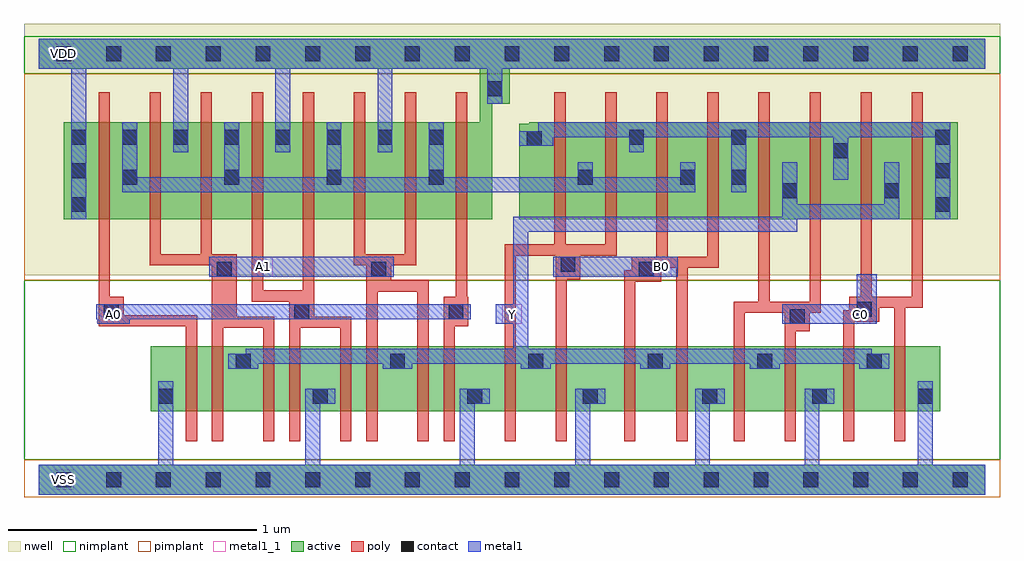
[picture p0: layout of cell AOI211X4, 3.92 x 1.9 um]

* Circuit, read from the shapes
.subckt AOI211X4 A0 A1 B0 C0 VDD VSS Y
M1 n1 A0 VSS VSS nfet w=0.26u l=0.045u
M2 Y A1 n1 VSS nfet w=0.26u l=0.045u
M3 n2 A1 Y VSS nfet w=0.26u l=0.045u
M4 VSS A0 n2 VSS nfet w=0.26u l=0.045u
M5 n3 A0 VSS VSS nfet w=0.26u l=0.045u
M6 Y A1 n3 VSS nfet w=0.26u l=0.045u
M7 n4 A1 Y VSS nfet w=0.26u l=0.045u
M8 VSS A0 n4 VSS nfet w=0.26u l=0.045u
M9 Y B0 VSS VSS nfet w=0.26u l=0.045u m=4
M10 Y C0 VSS VSS nfet w=0.26u l=0.045u m=4
M11 n5 A0 VDD VDD pfet w=0.39u l=0.045u m=4
M12 VDD A1 n5 VDD pfet w=0.39u l=0.045u m=4
M13 n5 B0 n6 VDD pfet w=0.39u l=0.045u m=4
M14 Y C0 n6 VDD pfet w=0.39u l=0.045u m=4
.ends

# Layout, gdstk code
import gdstk
lib = gdstk.Library(unit=1e-6, precision=5e-10)
def R(c, l, rs):  # rectangles x0, y0, x1, y1
    for r in rs: c.add(gdstk.rectangle(r[:2], r[2:], *l))
def A(c, l, x, y, w, h, nx, ny, dx, dy):  # array of equal rectangles
    R(c, l, [(x+i*dx, y+j*dy, x+i*dx+w, y+j*dy+h) for i in range(nx) for j in range(ny)])
def P(c, l, *ps):  # polygons
    for p in ps: c.add(gdstk.Polygon(p, *l))
active = (1, 0)
nwell = (2, 0)
poly = (3, 0)
nimplant = (4, 0)
pimplant = (5, 0)
contact = (6, 0)
metal1 = (7, 0)
metal1_1 = (7, 1)

aoi211x4 = lib.new_cell('AOI211X4')
R(aoi211x4, active, [(0,-0.06,3.8,0.06), (0.45,0.275,3.62,0.535)])
P(aoi211x4, active, [(0,1.77),(3.8,1.77),(3.8,1.65),(1.89,1.65),(1.89,1.51),(1.82,1.51),(1.82,1.045),(0.1,1.045),(0.1,1.435),(1.77,1.435),(1.77,1.65),(0,1.65)],
  [(1.97,1.435),(3.69,1.435),(3.69,1.045),(1.93,1.045),(1.93,1.43),(1.97,1.43)])
R(aoi211x4, nwell, [(-0.06,0.82,3.86,1.83)])
P(aoi211x4, poly, [(0.24,1.555),(0.285,1.555),(0.285,0.735),(0.34,0.735),(0.34,0.66),(0.635,0.66),(0.635,0.155),(0.59,0.155),(0.59,0.615),(0.24,0.615)],
  [(0.445,1.555),(0.49,1.555),(0.49,0.905),(0.65,0.905),(0.65,1.555),(0.695,1.555),(0.695,0.905),(0.795,0.905),(0.795,0.655),(0.945,0.655),(0.945,0.155),(0.9,0.155),(0.9,0.61),(0.74,0.61),(0.74,0.155),(0.695,0.155),(0.695,0.86),(0.445,0.86)],
  [(0.855,1.555),(0.9,1.555),(0.9,0.76),(1.06,0.76),(1.06,1.555),(1.105,1.555),(1.105,0.655),(1.255,0.655),(1.255,0.155),(1.21,0.155),(1.21,0.61),(1.05,0.61),(1.05,0.155),(1.005,0.155),(1.005,0.715),(0.855,0.715)],
  [(1.265,1.555),(1.31,1.555),(1.31,0.905),(1.47,0.905),(1.47,1.555),(1.515,1.555),(1.515,0.86),(1.415,0.86),(1.415,0.8),(1.565,0.8),(1.565,0.155),(1.52,0.155),(1.52,0.755),(1.36,0.755),(1.36,0.155),(1.315,0.155),(1.315,0.86),(1.265,0.86)],
  [(1.675,1.555),(1.72,1.555),(1.72,0.735),(1.725,0.735),(1.725,0.615),(1.67,0.615),(1.67,0.155),(1.625,0.155),(1.625,0.735),(1.675,0.735)],
  [(2.07,1.555),(2.115,1.555),(2.115,0.945),(2.275,0.945),(2.275,1.555),(2.32,1.555),(2.32,0.9),(2.175,0.9),(2.175,0.805),(2.12,0.805),(2.12,0.155),(2.075,0.155),(2.075,0.9),(1.915,0.9),(1.915,0.155),(1.87,0.155),(1.87,0.945),(2.07,0.945)],
  [(2.48,1.555),(2.525,1.555),(2.525,0.895),(2.685,0.895),(2.685,1.555),(2.73,1.555),(2.73,0.85),(2.605,0.85),(2.605,0.155),(2.56,0.155),(2.56,0.85),(2.5,0.85),(2.5,0.795),(2.395,0.795),(2.395,0.155),(2.35,0.155),(2.35,0.84),(2.38,0.84),(2.38,0.895),(2.48,0.895)],
  [(2.89,1.555),(2.935,1.555),(2.935,0.715),(3.095,0.715),(3.095,1.555),(3.14,1.555),(3.14,0.67),(3.095,0.67),(3.095,0.595),(3.04,0.595),(3.04,0.155),(2.995,0.155),(2.995,0.67),(2.835,0.67),(2.835,0.155),(2.79,0.155),(2.79,0.715),(2.89,0.715)],
  [(3.3,1.555),(3.345,1.555),(3.345,0.735),(3.505,0.735),(3.505,1.555),(3.55,1.555),(3.55,0.69),(3.48,0.69),(3.48,0.155),(3.435,0.155),(3.435,0.69),(3.375,0.69),(3.375,0.635),(3.275,0.635),(3.275,0.155),(3.23,0.155),(3.23,0.68),(3.255,0.68),(3.255,0.735),(3.3,0.735)])
R(aoi211x4, nimplant, [(-0.06,0.08,3.86,0.8), (-0.06,1.63,3.86,1.78)])
R(aoi211x4, pimplant, [(-0.06,-0.07,3.86,0.08), (-0.06,0.8,3.86,1.63)])
A(aoi211x4, contact, 0.07, -0.03, 0.06, 0.06, 19, 2, 0.2, 1.71)
A(aoi211x4, contact, 0.48, 0.305, 0.06, 0.06, 3, 1, 0.62, 0)
A(aoi211x4, contact, 2.445, 0.445, 0.06, 0.06, 3, 1, 0.44, 0)
A(aoi211x4, contact, 3.6, 1.075, 0.06, 0.06, 1, 3, 0, 0.135)
A(aoi211x4, contact, 0.335, 1.185, 0.06, 0.06, 4, 1, 0.41, 0)
A(aoi211x4, contact, 0.13, 1.345, 0.06, 0.06, 8, 1, 0.205, 0)
R(aoi211x4, contact, [(2.185,0.305,2.245,0.365), (2.665,0.305,2.725,0.365), (3.105,0.305,3.165,0.365), (3.53,0.305,3.59,0.365), (0.79,0.445,0.85,0.505), (1.41,0.445,1.47,0.505), (1.965,0.445,2.025,0.505), (3.015,0.625,3.075,0.685), (0.26,0.645,0.32,0.705), (1.025,0.645,1.085,0.705), (1.645,0.645,1.705,0.705), (3.285,0.655,3.345,0.715), (0.715,0.815,0.775,0.875), (1.335,0.815,1.395,0.875), (2.41,0.815,2.47,0.875), (2.095,0.835,2.155,0.895), (0.13,1.075,0.19,1.135), (2.985,1.13,3.045,1.19), (3.395,1.13,3.455,1.19), (2.165,1.185,2.225,1.245), (2.575,1.185,2.635,1.245), (2.78,1.185,2.84,1.245), (0.13,1.21,0.19,1.27), (3.19,1.29,3.25,1.35), (1.96,1.34,2.02,1.4), (2.37,1.345,2.43,1.405), (2.78,1.345,2.84,1.405), (1.8,1.54,1.86,1.6)])
R(aoi211x4, metal1, [(0.685,0.815,1.425,0.895), (2.065,0.815,2.565,0.895)])
P(aoi211x4, metal1, [(0,1.77),(3.8,1.77),(3.8,1.65),(1.86,1.65),(1.86,1.51),(1.8,1.51),(1.8,1.65),(1.42,1.65),(1.42,1.315),(1.36,1.315),(1.36,1.65),(1.01,1.65),(1.01,1.315),(0.95,1.315),(0.95,1.65),(0.6,1.65),(0.6,1.315),(0.54,1.315),(0.54,1.65),(0.19,1.65),(0.19,1.045),(0.13,1.045),(0.13,1.65),(0,1.65)],
  [(0.335,1.435),(0.395,1.435),(0.395,1.215),(0.745,1.215),(0.745,1.435),(0.805,1.435),(0.805,1.215),(1.155,1.215),(1.155,1.435),(1.215,1.435),(1.215,1.215),(1.565,1.215),(1.565,1.435),(1.625,1.435),(1.625,1.215),(2.165,1.215),(2.165,1.275),(2.225,1.275),(2.225,1.215),(2.575,1.215),(2.575,1.275),(2.635,1.275),(2.635,1.155),(0.335,1.155)],
  [(2.005,1.435),(3.66,1.435),(3.66,1.045),(3.6,1.045),(3.6,1.375),(3.25,1.375),(3.25,1.205),(3.19,1.205),(3.19,1.375),(2.84,1.375),(2.84,1.155),(2.78,1.155),(2.78,1.375),(2.43,1.375),(2.43,1.315),(2.37,1.315),(2.37,1.375),(2.065,1.375),(2.065,1.34),(1.93,1.34),(1.93,1.4),(2.005,1.4)],
  [(2.985,1.275),(3.045,1.275),(3.045,1.105),(3.395,1.105),(3.395,1.275),(3.455,1.275),(3.455,1.045),(3.045,1.045),(3.045,0.995),(1.965,0.995),(1.965,0.525),(3.345,0.525),(3.345,0.505),(3.415,0.505),(3.415,0.445),(3.295,0.445),(3.295,0.465),(2.975,0.465),(2.975,0.445),(2.855,0.445),(2.855,0.465),(2.535,0.465),(2.535,0.445),(2.415,0.445),(2.415,0.465),(2.055,0.465),(2.055,0.445),(1.935,0.445),(1.935,0.465),(1.5,0.465),(1.5,0.445),(1.38,0.445),(1.38,0.465),(0.88,0.465),(0.88,0.445),(0.76,0.445),(0.76,0.505),(0.83,0.505),(0.83,0.525),(1.905,0.525),(1.905,0.625),(1.835,0.625),(1.835,0.705),(1.905,0.705),(1.905,1.055),(2.985,1.055)],
  [(0.23,0.705),(1.735,0.705),(1.735,0.645),(0.365,0.645),(0.365,0.625),(0.235,0.625),(0.235,0.645),(0.23,0.645)],
  [(3.285,0.825),(3.365,0.825),(3.365,0.625),(2.985,0.625),(2.985,0.705),(3.285,0.705)],
  [(0.48,0.395),(0.54,0.395),(0.54,0.06),(1.07,0.06),(1.07,0.365),(1.19,0.365),(1.19,0.305),(1.13,0.305),(1.13,0.06),(1.69,0.06),(1.69,0.365),(1.81,0.365),(1.81,0.305),(1.75,0.305),(1.75,0.06),(2.155,0.06),(2.155,0.365),(2.275,0.365),(2.275,0.305),(2.215,0.305),(2.215,0.06),(2.635,0.06),(2.635,0.365),(2.755,0.365),(2.755,0.305),(2.695,0.305),(2.695,0.06),(3.075,0.06),(3.075,0.365),(3.195,0.365),(3.195,0.305),(3.135,0.305),(3.135,0.06),(3.53,0.06),(3.53,0.395),(3.59,0.395),(3.59,0.06),(3.8,0.06),(3.8,-0.06),(0,-0.06),(0,0.06),(0.48,0.06)])
R(aoi211x4, metal1_1, [(0.06,-0.04,0.14,0.04), (0.26,0.625,0.34,0.705), (1.86,0.625,1.94,0.705), (3.26,0.625,3.34,0.705), (0.86,0.815,0.94,0.895), (2.46,0.815,2.54,0.895), (0.06,1.67,0.14,1.75)])
aoi211x4.add(gdstk.Label('Y', (1.9,0.665), layer=7, texttype=1))
aoi211x4.add(gdstk.Label('A1', (0.9,0.855), layer=7, texttype=1))
aoi211x4.add(gdstk.Label('B0', (2.5,0.855), layer=7, texttype=1))
aoi211x4.add(gdstk.Label('C0', (3.3,0.665), layer=7, texttype=1))
aoi211x4.add(gdstk.Label('A0', (0.3,0.665), layer=7, texttype=1))
aoi211x4.add(gdstk.Label('VDD', (0.1,1.71), layer=7, texttype=1))
aoi211x4.add(gdstk.Label('VSS', (0.1,0), layer=7, texttype=1))
aoi211x4.add(gdstk.Label('AOI211X4', (0,0), layer=63, texttype=0))

lib.write_gds('AOI211X4.gds')
